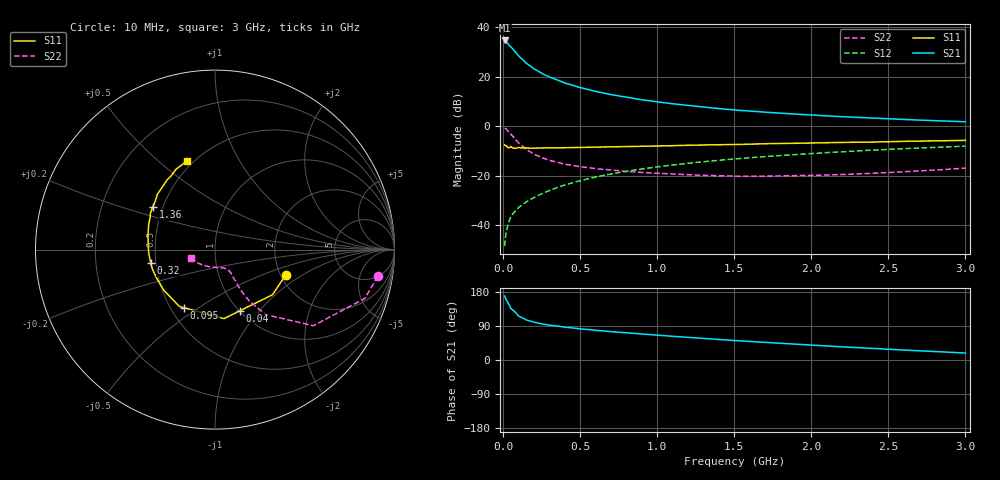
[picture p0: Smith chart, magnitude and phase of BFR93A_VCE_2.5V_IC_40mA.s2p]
! Infineon Technologies  Discrete & RF Semiconductors
! BFR93A
! VCE =  2.5 V,  IC =  40 mA
! Common Emitter S-Parameters:  Nov 2015
# GHz  S  MA  R  50
!  f  S11  S21  S12  S22
! GHz  MAG  ANG  MAG  ANG  MAG  ANG  MAG  ANG
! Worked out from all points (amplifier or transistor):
!   180 points, 10 MHz to 3 GHz, reference 50 ohm
!   highest |S21| = 34.6 dB at 10 MHz (marker M1)
!   |S21| within 3 dB of that: start of sweep to 56.98 MHz
!   unconditionally stable (mu >= 1): 277.9 MHz to end of sweep
!   at 160 MHz: K = 0.86, MSG = 27.6 dB, |S12| = -30.2 dB
!   at 1.22 GHz: K = 1.08, MAG = 9.8 dB, |S12| = -14.8 dB
!   at 3 GHz: K = 1.01, MAG = 4.5 dB, |S12| = -8.1 dB
!   S11 on the Smith chart (normalised r, x): 10 MHz: 2.13, -0.73; 40 MHz: 1.01, -0.80; 95 MHz: 0.58, -0.44; 320 MHz: 0.47, -0.08; 1.36 GHz: 0.44, +0.26; 3 GHz: 0.46, +0.62
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0.01  0.4182 -19.7  53.75 169.0  0.0038 82.7  0.9191 -9.3
0.02  0.4077 -38.0  51.19 159.0  0.0073 75.6  0.878 -18.1
0.04  0.3679 -67.5  43.02 144.8  0.0123 68.8  0.7444 -30.1
0.05  0.3877 -82.5  40.21 135.8  0.0149 67.2  0.6933 -37.7
0.095  0.3669 -118.1  27.37 118.7  0.022 63.8  0.4817 -50.0
0.1  0.3735 -122.0  26.17 115.8  0.0228 63.6  0.4602 -52.0
0.15  0.3645 -141.5  18.69 105.7  0.0295 65.3  0.3396 -56.4
0.2  0.3618 -153.4  14.43 99.8  0.0363 67.8  0.2729 -57.5
0.24  0.3637 -159.9  12.23 96.4  0.0419 69.0  0.2403 -57.5
0.3  0.3659 -166.3  9.831 92.0  0.0504 70.3  0.2049 -56.9
0.32  0.3658 -168.1  9.349 91.1  0.0533 70.6  0.1982 -56.8
0.4  0.3688 -175.3  7.451 86.6  0.065 71.5  0.1712 -56.2
0.52  0.373 176.5  5.819 81.5  0.0824 71.4  0.1503 -55.9
0.6  0.3758 172.1  5.045 78.4  0.0942 70.9  0.1394 -56.5
0.7  0.3825 168.0  4.342 74.8  0.1086 70.3  0.1305 -57.9
0.8  0.386 164.2  3.824 71.6  0.1228 69.4  0.1226 -59.9
1.02  0.3992 155.9  3.044 64.9  0.1538 66.7  0.1115 -66.4
1.36  0.4206 145.4  2.336 55.2  0.2001 62.4  0.1011 -80.6
1.52  0.4277 141.1  2.106 50.9  0.2211 60.3  0.0981 -89.2
2.02  0.4586 128.8  1.669 39.0  0.2837 53.5  0.1021 -114.2
2.52  0.4893 117.8  1.401 28.0  0.3431 46.4  0.1169 -137.8
3  0.5188 107.7  1.229 18.4  0.3957 39.5  0.1428 -160.5
